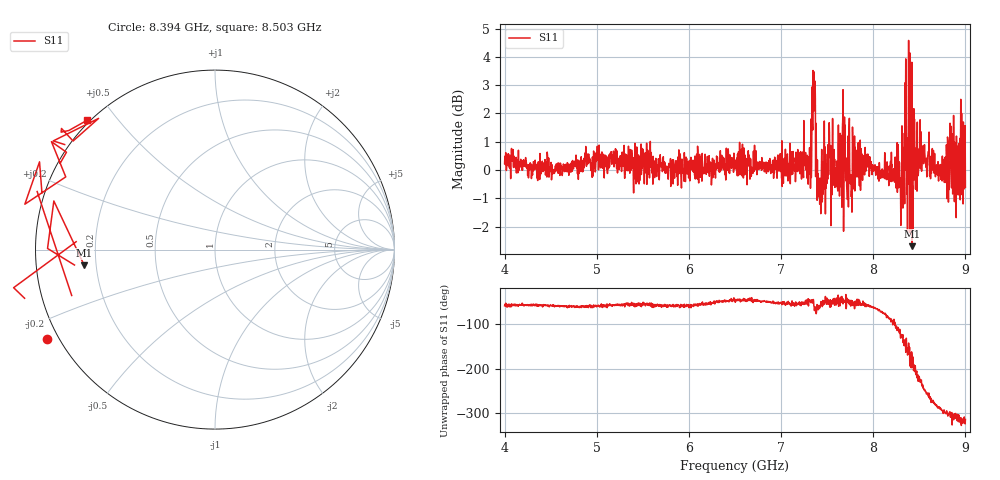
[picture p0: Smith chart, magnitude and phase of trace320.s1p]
! Created with skrf 1.8.0 (http://scikit-rf.org).
# Hz S RI R 50.0
!freq ReS11 ImS11
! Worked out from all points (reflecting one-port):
!   1601 points, 4 GHz to 9 GHz, reference 50 ohm
!   lowest |S11| = -2.7 dB at 8.422 GHz (marker M1), VSWR 6.50, Z = 7.72 - j2.96 ohm
!   phase of S11 starts at -59 deg and turns -256 deg over the sweep
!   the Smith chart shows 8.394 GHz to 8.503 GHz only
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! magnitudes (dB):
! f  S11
! 4 GHz  0.2
! 4.625 GHz  -0.2
! 5.25 GHz  0.1
! 5.875 GHz  0.0
! 6.5 GHz  0.2
! 7.125 GHz  -0.1
! 7.294 GHz  -0.5
! 7.356 GHz  3.4
! 7.409 GHz  -0.3
! 7.534 GHz  0.7
! 7.609 GHz  -0.3
! 7.647 GHz  -0.6
! 7.703 GHz  -0.2
! 7.75 GHz  -0.4
! 7.834 GHz  0.8
! 8.297 GHz  -1.0
! 8.316 GHz  -0.2
! 8.334 GHz  0.7
! 8.375 GHz  1.1
! 8.422 GHz  -2.7
! 8.447 GHz  1.8
! 8.459 GHz  -0.7
! 8.534 GHz  0.3
! 8.778 GHz  0.0
! 8.859 GHz  1.3
! 8.9 GHz  -1.7
! 8.972 GHz  0.6
! 9 GHz  -0.6
